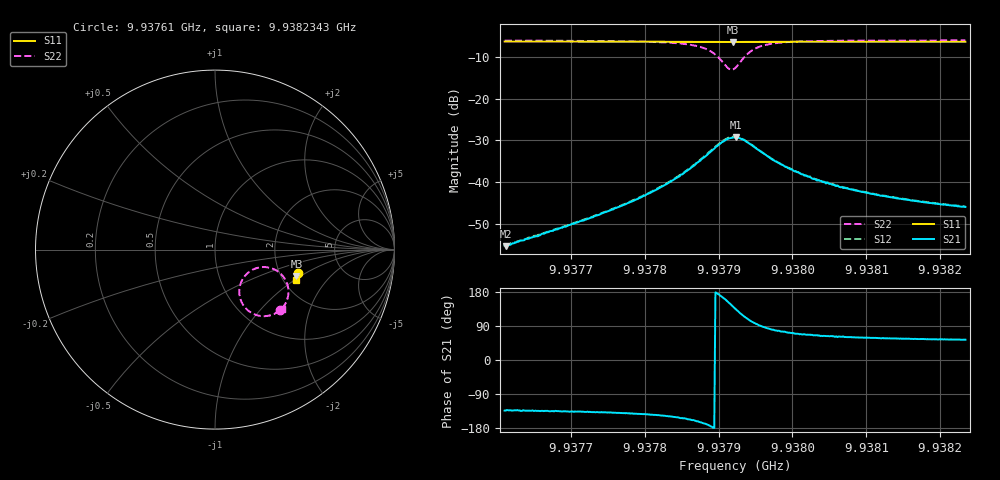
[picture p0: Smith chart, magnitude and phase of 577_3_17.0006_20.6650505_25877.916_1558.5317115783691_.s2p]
#  HZ  S  RI  R  50.00
! Rohde & Schwarz Vector Network Analyzer
! Rohde-Schwarz,ZNB20-2Port,1311601062101988,3.16
! Created: UTC 3/20/2024, 11:17:58 PM
! freq[Hz]  re:S11  im:S11  re:S21  im:S21  re:S12  im:S12  re:S22  im:S22
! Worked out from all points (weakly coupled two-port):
!   401 points, 9.93761 GHz to 9.9382343 GHz, reference 50 ohm
!   highest |S21| = -29.27 dB at 9.9379237 GHz (marker M1); lowest = -55.3 dB at 9.9376116 GHz (marker M2)
!   lowest |S11| = -6.4 dB at 9.937919 GHz (marker M3), VSWR 2.82, Z = 121 - j45.9 ohm
!   |S11| at or under -10 dB: nowhere
!   |S22| runs from -13.1 to -6.1 dB; largest |S21 - S12| = 0.0015
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9.93761e9  0.4646 -0.1287  -0.0012 -0.00126  -0.00122 -0.00128  0.3611 -0.3389
9.93761156e9  0.4647 -0.1287  -0.00118 -0.00125  -0.00123 -0.00127  0.361 -0.3389
9.93771456e9  0.4621 -0.1356  -0.00251 -0.00239  -0.00258 -0.00238  0.3441 -0.3507
9.93776606e9  0.4609 -0.1393  -0.0039 -0.0033  -0.004 -0.00331  0.3293 -0.3587
9.93781913e9  0.4592 -0.143  -0.00697 -0.00478  -0.00724 -0.00471  0.2997 -0.3683
9.93785034e9  0.458 -0.1452  -0.011 -0.00556  -0.0114 -0.00557  0.2643 -0.371
9.93787999e9  0.4563 -0.1472  -0.0192 -0.00428  -0.0198 -0.00422  0.199 -0.3501
9.93789248e9  0.4553 -0.1477  -0.0246 -0.000805  -0.0253 -0.000337  0.1611 -0.3143
9.93790496e9  0.4541 -0.1476  -0.0294 0.00741  -0.0299 0.00838  0.1352 -0.2416
9.93791276e9  0.4538 -0.1471  -0.0295 0.0149  -0.0299 0.0164  0.146 -0.1805
9.93791901e9  0.4536 -0.1469  -0.0269 0.0211  -0.0268 0.0226  0.1772 -0.1356
9.93792213e9  0.4538 -0.1467  -0.0246 0.0239  -0.0242 0.0251  0.1989 -0.1183
9.93792369e9  0.4539 -0.1465  -0.0236 0.025  -0.023 0.0261  0.211 -0.1115
9.93793149e9  0.4545 -0.1465  -0.0162 0.0284  -0.0154 0.0295  0.2738 -0.0972
9.93794086e9  0.4553 -0.1469  -0.00812 0.0282  -0.00718 0.0288  0.3358 -0.1129
9.93795646e9  0.456 -0.1484  -0.000149 0.0235  0.000568 0.0235  0.3893 -0.1633
9.93798768e9  0.4558 -0.1512  0.00419 0.0153  0.00459 0.0153  0.4092 -0.2356
9.93801265e9  0.4553 -0.1532  0.00473 0.0115  0.00485 0.0116  0.4059 -0.2654
9.93802669e9  0.455 -0.1543  0.00443 0.0101  0.00493 0.0102  0.4026 -0.2769
9.93806571e9  0.454 -0.157  0.00417 0.00763  0.00443 0.0077  0.394 -0.2974
9.93813126e9  0.4524 -0.1616  0.00361 0.00558  0.00376 0.00554  0.3829 -0.3161
9.93823426e9  0.4495 -0.1684  0.00301 0.00406  0.00313 0.00404  0.3706 -0.3317
